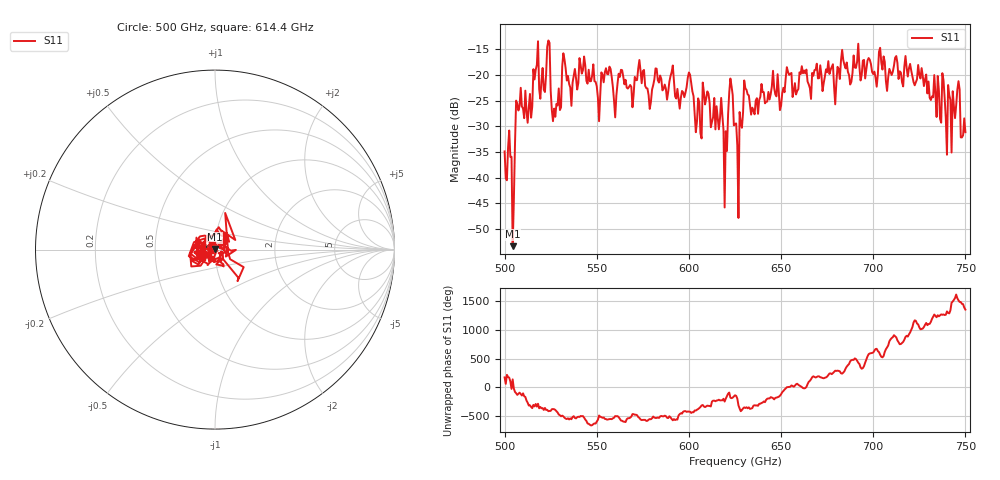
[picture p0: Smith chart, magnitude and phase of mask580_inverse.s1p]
!Created with skrf (http://scikit-rf.org).
# GHz S MA R 50.0
!freq magS11 angS11
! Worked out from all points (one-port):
!   401 points, 500 GHz to 750 GHz, reference 50 ohm
!   lowest |S11| = -53.3 dB at 504.4 GHz (marker M1), VSWR 1.00, Z = 49.8 + j0.142 ohm
!   |S11| at or under -10 dB: start of sweep to end of sweep
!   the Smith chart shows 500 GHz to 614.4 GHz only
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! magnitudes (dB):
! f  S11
! 500 GHz  -34.9
! 504.4 GHz  -53.3
! 507.5 GHz  -26.9
! 513.8 GHz  -23.7
! 516.9 GHz  -19.0
! 520.6 GHz  -18.7
! 523.8 GHz  -13.3
! 526.9 GHz  -26.6
! 531.2 GHz  -18.4
! 550.6 GHz  -24.5
! 556.2 GHz  -19.9
! 560 GHz  -28.3
! 562.5 GHz  -20.4
! 593.8 GHz  -22.7
! 600.6 GHz  -20.0
! 605.6 GHz  -25.3
! 608.8 GHz  -25.8
! 619.4 GHz  -45.8
! 622.5 GHz  -20.7
! 625 GHz  -29.5
! 627.5 GHz  -27.2
! 631.2 GHz  -22.9
! 656.2 GHz  -24.3
! 687.5 GHz  -21.9
! 718.8 GHz  -20.3
! 741.2 GHz  -23.9
! 745.6 GHz  -22.9
! 750 GHz  -31.2
